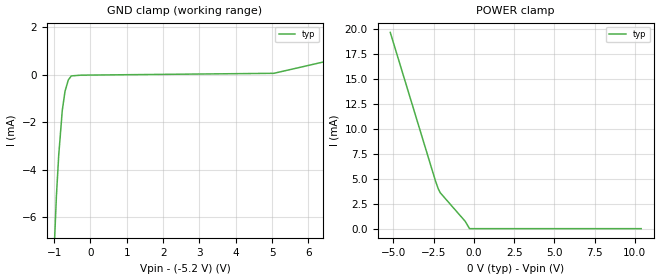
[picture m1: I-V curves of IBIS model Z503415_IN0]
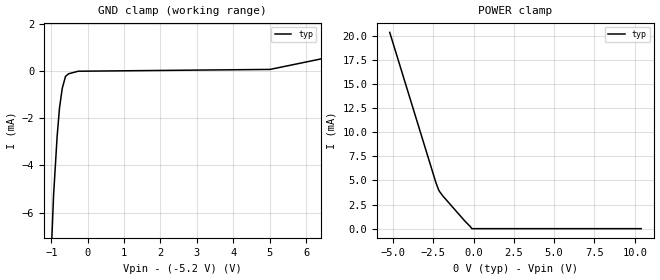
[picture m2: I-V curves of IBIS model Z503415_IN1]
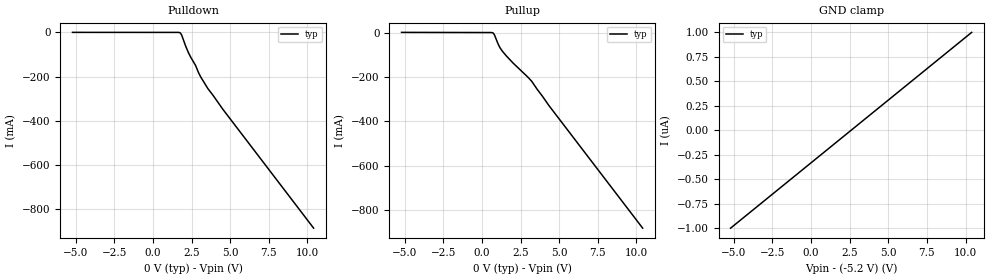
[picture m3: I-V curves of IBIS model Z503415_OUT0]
| YOU ARE ONLY AUTHORIZED TO USE THIS SOFTWARE
| ACCORDING TO LICENSOR'S LICENSE RESTRICTIONS.
[IBIS Ver] 3.1
[File Name] mc10e171fn.ibs
[File Rev] 2.0
[Source] Measured and created by ICX Technology
[Date] Friday 7/14/00 9:07:49 AM
[Copyright]
| (C) COPYRIGHT 1993-2000
| MENTOR GRAPHICS CORPORATION
| ICX STANDARD LIBRARY, ICX PROJECT MODELING,
| ICX CUSTOM MODELING, ICX VENDOR MODEL
| ALL RIGHTS RESERVED.
| THE FOLLOWING ARE TRADEMARKS OR SERVICE MARKS OF
| MENTOR GRAPHICS CORPORATION:ICX (R), ICX STANDARD
| LIBRARY(R), ICX PROJECT MODELING(R), ICX CUSTOM
| MODELING(R), qualityIBIS(TM), MODELVIEWER(TM),
| AND MODELEDITOR(TM)
| ALL COPIES OF SOFTWARE, INCLUDING BUT NOT LIMITED TO
| ANY MODIFICATIONS, ENHANCEMENTS OR DERIVATIVE WORKS,
| MUST CONTAIN ALL MENTOR GRAPHICS CORPORATION'S
| NOTICES AND LEGENDS, INCLUDING THOSE EMBEDDED IN
| SOFTWARE AND THOSE AFFIXED TO SOFTWARE MEDIUM
| AND CONTAINER, AS RECEIVED FROM MENTOR GRAPHICS
| CORPORATION.
|  ZAP Model Builder 2.7
[Component] MC10E171FN
[Manufacturer] OnSemiconductor
[Package]
| variable   typ   min   max
R_pkg  .083ohms NA NA
L_pkg  4.299nH NA NA
C_pkg  1.045pF NA NA
[Pin] signal_name  model_name  R_pin  L_pin C_pin
1 VEE POWER .08 3.94n .925p
2 NC NC .082 4.14n .995p
3 NC NC .084 4.354n 1.065p
4 D1C Z503415_IN0 .086 4.583n 1.135p
5 D1D Z503415_IN0 .086 4.583n 1.135p
6 D0A Z503415_IN0 .084 4.354n 1.065p
7 D0B Z503415_IN0 .082 4.14n .995p
8 D0C Z503415_IN0 .08 3.94n .925p
9 D0D Z503415_IN0 .082 4.14n .995p
10 VCCO POWER .084 4.354n 1.065p
11 Q0 Z503415_OUT0 .086 4.583n 1.135p
12 _Q0 Z503415_OUT1 .086 4.583n 1.135p
13 VCCO POWER .084 4.354n 1.065p
14 Q1 Z503415_OUT0 .082 4.14n .995p
15 _Q1 Z503415_OUT1 .08 3.94n .925p
16 VCC POWER .082 4.14n .995p
17 Q2 Z503415_OUT0 .084 4.354n 1.065p
18 _Q2 Z503415_OUT1 .086 4.583n 1.135p
19 VCCO POWER .086 4.583n 1.135p
20 D2A Z503415_IN0 .084 4.354n 1.065p
21 D2B Z503415_IN0 .082 4.14n .995p
22 D2C Z503415_IN0 .08 3.94n .925p
23 D2D Z503415_IN0 .082 4.14n .995p
24 D1A Z503415_IN0 .084 4.354n 1.065p
25 D1B Z503415_IN0 .086 4.583n 1.135p
26 SEL1A Z503415_IN1 .086 4.583n 1.135p
27 SEL1B Z503415_IN1 .084 4.354n 1.065p
28 SEL2 Z503415_IN1 .082 4.14n .995p
| Models and submodels in the file (4): Z503415_IN0 (Input_ECL), Z503415_IN1 (Input_ECL), Z503415_OUT0 (Output_ECL), Z503415_OUT1 (Output_ECL)
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| (C) COPYRIGHT 1993-2000
| MENTOR GRAPHICS CORPORATION
| ICX STANDARD LIBRARY, ICX PROJECT MODELING,
| ICX CUSTOM MODELING, ICX VENDOR MODEL
| ALL RIGHTS RESERVED.
| THE FOLLOWING ARE TRADEMARKS OR SERVICE MARKS OF
| MENTOR GRAPHICS CORPORATION:ICX (R), ICX STANDARD
| LIBRARY(R), ICX PROJECT MODELING(R), ICX CUSTOM
| MODELING(R), qualityIBIS(TM), MODELVIEWER(TM),
| AND MODELEDITOR(TM)
| ALL COPIES OF SOFTWARE, INCLUDING BUT NOT LIMITED TO
| ANY MODIFICATIONS, ENHANCEMENTS OR DERIVATIVE WORKS,
| MUST CONTAIN ALL MENTOR GRAPHICS CORPORATION'S
| NOTICES AND LEGENDS, INCLUDING THOSE EMBEDDED IN
| SOFTWARE AND THOSE AFFIXED TO SOFTWARE MEDIUM
| AND CONTAINER, AS RECEIVED FROM MENTOR GRAPHICS
| CORPORATION.
| Model Application Version 1.89 2/18/99.
[Model] Z503415_IN0
Model_type Input_ECL
Vinl = -1.480V
Vinh = -1.130V
C_comp 4.000pF NA NA
| variable typ   min   max
[Voltage Range] -5.200V NA NA
[GND Clamp Reference] -5.200V NA NA
[POWER Clamp Reference] 0.000V NA NA
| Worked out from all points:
|   GND clamp passes 1 mA (typ) near -0.73 V on its own axis
[GND Clamp]
-5.2V     -233.5mA   NA         NA
-1.098V   -10.97mA   NA         NA
-938mV    -5.103mA   NA         NA
-874mV    -3.376mA   NA         NA
-776mV    -1.492mA   NA         NA
-701mV    -693.9uA   NA         NA
-609mV    -211uA     NA         NA
-527mV    -47.14uA   NA         NA
-263.5mV  -15.46uA   NA         NA
5.049V    62.3uA     NA         NA
10.4V     1.935mA    NA         NA
[POWER Clamp]
-5.2V     19.64mA    NA         NA
-2.387V   4.762mA    NA         NA
-2.216V   3.987mA    NA         NA
-2.097V   3.6mA      NA         NA
-541.6mV  734.3uA    NA         NA
-270.8mV  0A         NA         NA
10.4V     0A         NA         NA
| (C) COPYRIGHT 1993-2000
| MENTOR GRAPHICS CORPORATION
| ICX STANDARD LIBRARY, ICX PROJECT MODELING,
| ICX CUSTOM MODELING, ICX VENDOR MODEL
| ALL RIGHTS RESERVED.
| THE FOLLOWING ARE TRADEMARKS OR SERVICE MARKS OF
| MENTOR GRAPHICS CORPORATION:ICX (R), ICX STANDARD
| LIBRARY(R), ICX PROJECT MODELING(R), ICX CUSTOM
| MODELING(R), qualityIBIS(TM), MODELVIEWER(TM),
| AND MODELEDITOR(TM)
| ALL COPIES OF SOFTWARE, INCLUDING BUT NOT LIMITED TO
| ANY MODIFICATIONS, ENHANCEMENTS OR DERIVATIVE WORKS,
| MUST CONTAIN ALL MENTOR GRAPHICS CORPORATION'S
| NOTICES AND LEGENDS, INCLUDING THOSE EMBEDDED IN
| SOFTWARE AND THOSE AFFIXED TO SOFTWARE MEDIUM
| AND CONTAINER, AS RECEIVED FROM MENTOR GRAPHICS
| CORPORATION.
| Model Application Version 1.89 2/18/99.
[Model] Z503415_IN1
Model_type Input_ECL
Vinl = -1.480V
Vinh = -1.130V
C_comp 4.000pF NA NA
| variable typ   min   max
[Voltage Range] -5.200V NA NA
[GND Clamp Reference] -5.200V NA NA
[POWER Clamp Reference] 0.000V NA NA
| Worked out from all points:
|   GND clamp passes 1 mA (typ) near -0.72 V on its own axis
[GND Clamp]
-5.2V     -237.2mA   NA         NA
-1.094V   -11.21mA   NA         NA
-937mV    -5.242mA   NA         NA
-840mV    -2.771mA   NA         NA
-775mV    -1.575mA   NA         NA
-700mV    -745uA     NA         NA
-609mV    -232.6uA   NA         NA
-523mV    -123.8uA   NA         NA
-261.5mV  -16.86uA   NA         NA
5.01V     59.68uA    NA         NA
10.4V     1.767mA    NA         NA
[POWER Clamp]
-5.2V     20.34mA    NA         NA
-2.344V   4.817mA    NA         NA
-2.177V   4.062mA    NA         NA
-2.114V   3.86mA     NA         NA
-1.901V   3.381mA    NA         NA
-540.9mV  792.8uA    NA         NA
-205.1mV  220.7uA    NA         NA
-102.5mV  0A         NA         NA
10.4V     0A         NA         NA
| (C) COPYRIGHT 1993-2000
| MENTOR GRAPHICS CORPORATION
| ICX STANDARD LIBRARY, ICX PROJECT MODELING,
| ICX CUSTOM MODELING, ICX VENDOR MODEL
| ALL RIGHTS RESERVED.
| THE FOLLOWING ARE TRADEMARKS OR SERVICE MARKS OF
| MENTOR GRAPHICS CORPORATION:ICX (R), ICX STANDARD
| LIBRARY(R), ICX PROJECT MODELING(R), ICX CUSTOM
| MODELING(R), qualityIBIS(TM), MODELVIEWER(TM),
| AND MODELEDITOR(TM)
| ALL COPIES OF SOFTWARE, INCLUDING BUT NOT LIMITED TO
| ANY MODIFICATIONS, ENHANCEMENTS OR DERIVATIVE WORKS,
| MUST CONTAIN ALL MENTOR GRAPHICS CORPORATION'S
| NOTICES AND LEGENDS, INCLUDING THOSE EMBEDDED IN
| SOFTWARE AND THOSE AFFIXED TO SOFTWARE MEDIUM
| AND CONTAINER, AS RECEIVED FROM MENTOR GRAPHICS
| CORPORATION.
| Model Application Version 1.89 2/18/99.
[Model] Z503415_OUT0
Model_type Output_ECL
Vref=-2.000V
Rref=50.00ohms
Cref=0.000F
Vmeas=-1.305V
C_comp 8.000pF NA NA
| variable typ   min   max
[Voltage Range] -5.200V NA NA
[POWER Clamp Reference] 0.000V NA NA
[Pullup Reference] 0.000V NA NA
[Pulldown Reference] 0.000V NA NA
[GND Clamp Reference] -5.200V NA NA
[GND Clamp]
-5.2V     -1uA       NA         NA
10.4V     1uA        NA         NA
[Pulldown]
-5.2V     207.9uA    NA         NA
1.626V    75.2uA     NA         NA
1.782V    -2.713mA   NA         NA
1.869V    -13.07mA   NA         NA
2.114V    -60.66mA   NA         NA
2.3V      -91.75mA   NA         NA
2.759V    -149.4mA   NA         NA
3.101V    -202.6mA   NA         NA
3.56V     -254.9mA   NA         NA
4.535V    -349.2mA   NA         NA
10.4V     -887.4mA   NA         NA
[Pullup]
-5.2V     721.4uA    NA         NA
727.5mV   -2.064mA   NA         NA
815.4mV   -11.27mA   NA         NA
1.12V     -61.84mA   NA         NA
1.333V    -84.76mA   NA         NA
2.031V    -138.3mA   NA         NA
3.223V    -219.3mA   NA         NA
4.337V    -328.5mA   NA         NA
10.4V     -879.6mA   NA         NA
[POWER Clamp]
-5.2V     0A         NA         NA
10.4V     0A         NA         NA
[Ramp]
| variable typ min max
dV/dt_r 593.4m/240.6p NA NA
dV/dt_f 593.4m/315.8p NA NA
R_load = 500.0Ohms
